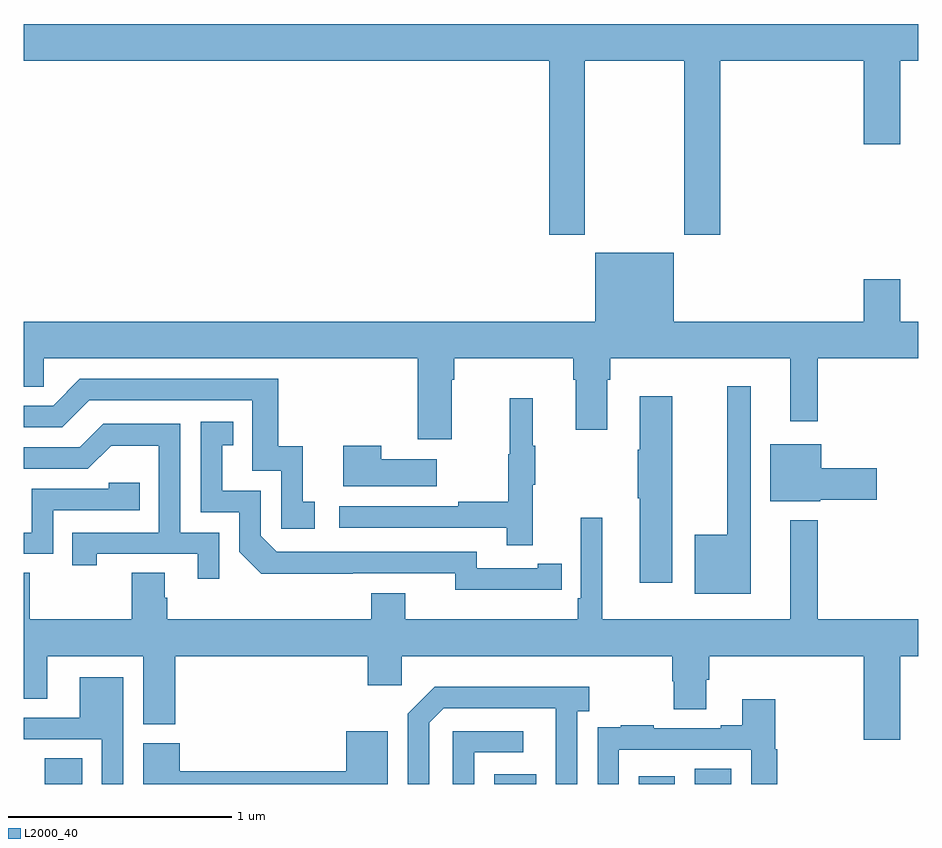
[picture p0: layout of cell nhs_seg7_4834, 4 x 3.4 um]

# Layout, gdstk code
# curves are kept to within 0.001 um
import gdstk
lib = gdstk.Library(unit=1e-6, precision=1e-09)
def R(c, l, rs):  # rectangles x0, y0, x1, y1
    for r in rs: c.add(gdstk.rectangle(r[:2], r[2:], *l))
def P(c, l, *ps):  # polygons
    for p in ps: c.add(gdstk.Polygon(p, *l))
L2000_40 = (2000, 40)

nhs_seg7_4834 = lib.new_cell('nhs_seg7_4834')
R(nhs_seg7_4834, L2000_40, [(413.093,1044,413.26,1044.116), (415.103,1044,415.291,1044.043), (415.751,1044,415.912,1044.034), (416,1044,416.164,1044.068)])
P(nhs_seg7_4834, L2000_40, [(413,1047.236),(415.349,1047.236),(415.349,1046.457),(415.509,1046.457),(415.509,1047.236),(415.954,1047.236),(415.954,1046.457),(416.114,1046.457),(416.114,1047.236),(416.756,1047.236),(416.756,1046.862),(416.92,1046.862),(416.92,1047.236),(417,1047.236),(417,1047.4),(413,1047.4)],
  [(414.913,1045.808),(414.926,1045.808),(414.926,1045.904),(415.457,1045.904),(415.457,1045.808),(415.469,1045.808),(415.469,1045.584),(415.609,1045.584),(415.609,1045.808),(415.622,1045.808),(415.622,1045.904),(416.429,1045.904),(416.429,1045.623),(416.551,1045.623),(416.551,1045.904),(417,1045.904),(417,1046.068),(416.92,1046.068),(416.92,1046.257),(416.756,1046.257),(416.756,1046.068),(415.906,1046.068),(415.906,1046.377),(415.556,1046.377),(415.556,1046.068),(413,1046.068),(413,1045.777),(413.088,1045.777),(413.088,1045.904),(414.761,1045.904),(414.761,1045.542),(414.913,1045.542)],
  [(414.301,1045.263),(414.248,1045.263),(414.248,1045.51),(414.137,1045.51),(414.137,1045.812),(413.25,1045.812),(413.13,1045.692),(413,1045.692),(413,1045.596),(413.172,1045.596),(413.292,1045.716),(414.021,1045.716),(414.021,1045.401),(414.15,1045.401),(414.15,1045.143),(414.301,1045.143)],
  [(416.251,1045.78),(416.147,1045.78),(416.147,1045.114),(416,1045.114),(416,1044.851),(416.251,1044.851)],
  [(415.9,1045.735),(415.754,1045.735),(415.754,1045.496),(415.747,1045.496),(415.747,1045.279),(415.754,1045.279),(415.754,1044.9),(415.9,1044.9)],
  [(415.277,1045.339),(415.288,1045.339),(415.288,1045.513),(415.277,1045.513),(415.277,1045.726),(415.174,1045.726),(415.174,1045.476),(415.167,1045.476),(415.167,1045.262),(414.943,1045.262),(414.943,1045.242),(414.411,1045.242),(414.411,1045.146),(415.159,1045.146),(415.159,1045.068),(415.277,1045.068)],
  [(415.298,1044.87),(415.406,1044.87),(415.406,1044.986),(415.298,1044.986),(415.298,1044.966),(415.026,1044.966),(415.026,1045.038),(414.132,1045.038),(414.06,1045.11),(414.06,1045.311),(413.887,1045.311),(413.887,1045.515),(413.936,1045.515),(413.936,1045.621),(413.79,1045.621),(413.79,1045.215),(413.964,1045.215),(413.964,1045.038),(414.062,1044.941),(414.93,1044.942),(414.93,1044.869)],
  [(413.874,1045.125),(413.7,1045.125),(413.7,1045.611),(413.354,1045.611),(413.249,1045.506),(413,1045.506),(413,1045.41),(413.286,1045.41),(413.39,1045.514),(413.604,1045.514),(413.604,1045.125),(413.215,1045.125),(413.215,1044.978),(413.326,1044.978),(413.326,1045.029),(413.777,1045.029),(413.777,1044.918),(413.874,1044.918)],
  [(416.562,1045.271),(416.815,1045.271),(416.815,1045.413),(416.566,1045.413),(416.566,1045.519),(416.339,1045.519),(416.339,1045.265),(416.562,1045.265)],
  [(414.847,1045.453),(414.599,1045.453),(414.599,1045.513),(414.428,1045.513),(414.428,1045.331),(414.847,1045.331)],
  [(413.13,1045.224),(413.519,1045.224),(413.519,1045.347),(413.379,1045.347),(413.379,1045.32),(413.034,1045.32),(413.034,1045.125),(413,1045.125),(413,1045.029),(413.13,1045.029)],
  [(416.551,1045.18),(416.429,1045.18),(416.429,1044.736),(415.588,1044.736),(415.588,1045.192),(415.491,1045.192),(415.491,1044.832),(415.478,1044.832),(415.478,1044.736),(414.706,1044.736),(414.706,1044.853),(414.554,1044.853),(414.554,1044.736),(413.642,1044.736),(413.642,1044.834),(413.629,1044.834),(413.629,1044.944),(413.482,1044.944),(413.482,1044.736),(413.025,1044.736),(413.025,1044.944),(413,1044.944),(413,1044.382),(413.104,1044.382),(413.104,1044.572),(413.534,1044.572),(413.534,1044.268),(413.678,1044.268),(413.678,1044.572),(414.539,1044.572),(414.539,1044.441),(414.69,1044.441),(414.69,1044.572),(415.901,1044.572),(415.901,1044.459),(415.906,1044.459),(415.906,1044.334),(416.053,1044.334),(416.053,1044.466),(416.066,1044.466),(416.066,1044.572),(416.756,1044.572),(416.756,1044.198),(416.92,1044.198),(416.92,1044.572),(417,1044.572),(417,1044.736),(416.551,1044.736)],
  [(413.445,1044.478),(413.249,1044.478),(413.249,1044.297),(413,1044.297),(413,1044.201),(413.349,1044.201),(413.349,1044),(413.445,1044)],
  [(414.813,1044.273),(414.879,1044.339),(415.379,1044.339),(415.38,1044),(415.476,1044),(415.476,1044.326),(415.528,1044.326),(415.528,1044.436),(414.838,1044.436),(414.717,1044.315),(414.717,1044),(414.813,1044)],
  [(415.662,1044.153),(416.253,1044.153),(416.253,1044),(416.369,1044),(416.369,1044.156),(416.362,1044.156),(416.362,1044.379),(416.213,1044.379),(416.213,1044.262),(416.117,1044.262),(416.117,1044.249),(415.817,1044.249),(415.817,1044.262),(415.669,1044.262),(415.669,1044.255),(415.567,1044.255),(415.567,1044.146),(415.566,1044.146),(415.566,1044),(415.662,1044)],
  [(415.014,1044.141),(415.234,1044.141),(415.234,1044.237),(414.918,1044.237),(414.918,1044),(415.014,1044)],
  [(414.628,1044.235),(414.441,1044.235),(414.441,1044.056),(413.696,1044.056),(413.696,1044.183),(413.534,1044.183),(413.534,1044),(414.628,1044)])

lib.write_gds('nhs_seg7_4834.gds')
